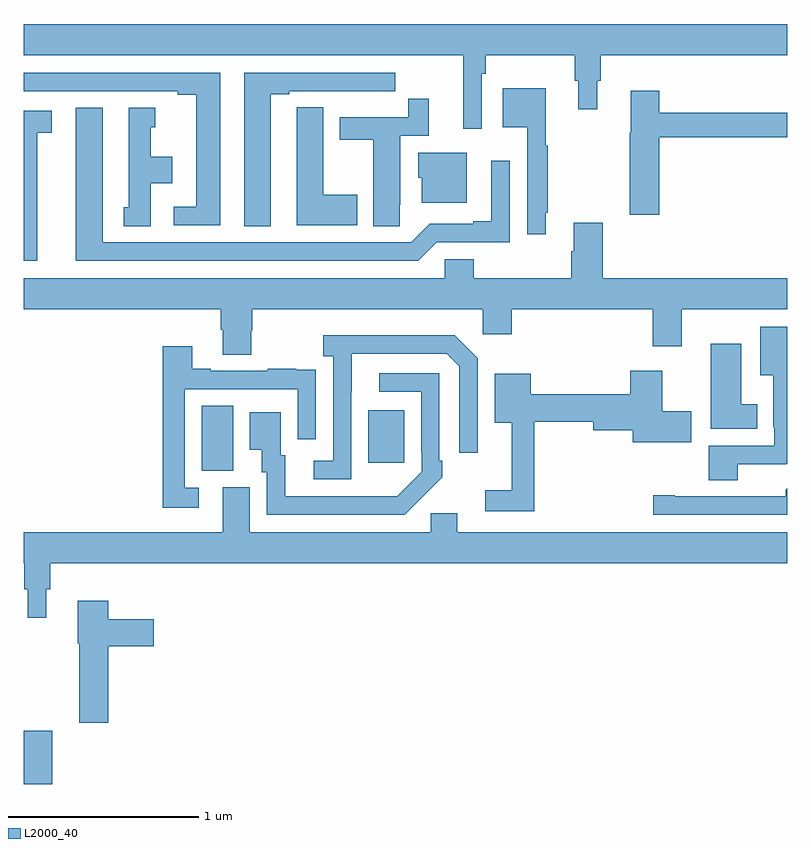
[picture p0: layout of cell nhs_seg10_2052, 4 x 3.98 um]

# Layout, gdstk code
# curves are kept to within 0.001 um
import gdstk
lib = gdstk.Library(unit=1e-6, precision=1e-09)
def R(c, l, rs):  # rectangles x0, y0, x1, y1
    for r in rs: c.add(gdstk.rectangle(r[:2], r[2:], *l))
def P(c, l, *ps):  # polygons
    for p in ps: c.add(gdstk.Polygon(p, *l))
L2000_40 = (2000, 40)

nhs_seg10_2052 = lib.new_cell('nhs_seg10_2052')
R(nhs_seg10_2052, L2000_40, [(219,1292.5,219.149,1292.779), (219.932,1294.141,220.096,1294.484), (220.805,1294.185,220.993,1294.459)])
P(nhs_seg10_2052, L2000_40, [(221.4,1296.224),(221.42,1296.224),(221.42,1296.32),(221.887,1296.32),(221.887,1296.186),(221.906,1296.186),(221.906,1296.036),(222.004,1296.036),(222.004,1296.186),(222.023,1296.186),(222.023,1296.32),(223,1296.32),(223,1296.484),(219,1296.484),(219,1296.32),(221.303,1296.32),(221.303,1295.934),(221.4,1295.934)],
  [(220.294,1296.117),(220.39,1296.117),(220.39,1296.132),(220.666,1296.132),(220.666,1296.131),(220.832,1296.131),(220.832,1296.132),(220.945,1296.132),(220.945,1296.228),(220.154,1296.228),(220.154,1295.425),(220.294,1295.425)],
  [(220.03,1296.228),(219,1296.228),(219,1296.132),(219.806,1296.132),(219.806,1296.112),(219.902,1296.112),(219.902,1295.526),(219.786,1295.526),(219.786,1295.43),(220.03,1295.43)],
  [(221.734,1295.494),(221.746,1295.494),(221.746,1295.846),(221.734,1295.846),(221.734,1296.148),(221.51,1296.148),(221.51,1295.942),(221.637,1295.942),(221.637,1295.382),(221.734,1295.382)],
  [(222.329,1295.89),(223,1295.89),(223,1296.019),(222.329,1296.019),(222.329,1296.133),(222.182,1296.133),(222.182,1295.913),(222.175,1295.913),(222.175,1295.484),(222.329,1295.484)],
  [(220.971,1295.536),(220.972,1295.536),(220.972,1295.898),(221.123,1295.898),(221.123,1296.091),(221.014,1296.091),(221.014,1295.994),(220.655,1295.994),(220.655,1295.878),(220.832,1295.878),(220.832,1295.425),(220.971,1295.425)],
  [(220.747,1295.589),(220.57,1295.589),(220.57,1296.047),(220.431,1296.047),(220.431,1295.939),(220.43,1295.939),(220.43,1295.429),(220.747,1295.429)],
  [(219.664,1295.648),(219.778,1295.648),(219.778,1295.788),(219.664,1295.788),(219.664,1295.943),(219.688,1295.943),(219.688,1296.046),(219.548,1296.046),(219.548,1295.523),(219.524,1295.523),(219.524,1295.425),(219.664,1295.425)],
  [(221.163,1295.34),(221.547,1295.34),(221.547,1295.767),(221.45,1295.767),(221.45,1295.449),(221.354,1295.449),(221.354,1295.436),(221.127,1295.436),(221.031,1295.34),(219.412,1295.34),(219.412,1296.046),(219.272,1296.046),(219.272,1295.244),(221.067,1295.244)],
  [(219.07,1295.914),(219.145,1295.914),(219.145,1296.03),(219,1296.03),(219,1295.244),(219.07,1295.244)],
  [(221.32,1295.809),(221.066,1295.809),(221.066,1295.679),(221.084,1295.679),(221.084,1295.546),(221.32,1295.546)],
  [(220.191,1294.875),(220.196,1294.875),(220.196,1294.988),(221.406,1294.988),(221.406,1294.857),(221.558,1294.857),(221.558,1294.988),(222.296,1294.988),(222.296,1294.794),(222.448,1294.794),(222.448,1294.988),(223,1294.988),(223,1295.152),(222.035,1295.152),(222.035,1295.443),(221.882,1295.443),(221.882,1295.294),(221.87,1295.294),(221.87,1295.152),(221.357,1295.152),(221.357,1295.25),(221.205,1295.25),(221.205,1295.152),(219,1295.152),(219,1294.988),(220.031,1294.988),(220.031,1294.882),(220.043,1294.882),(220.043,1294.75),(220.191,1294.75)],
  [(222.742,1294.176),(222.996,1294.176),(223,1294.18),(223,1294.897),(222.86,1294.897),(222.86,1294.643),(222.929,1294.643),(222.929,1294.369),(222.933,1294.369),(222.933,1294.272),(222.59,1294.272),(222.59,1294.093),(222.742,1294.093)],
  [(220.716,1294.555),(220.717,1294.755),(221.217,1294.755),(221.283,1294.689),(221.283,1294.236),(221.379,1294.236),(221.379,1294.731),(221.258,1294.852),(220.569,1294.852),(220.569,1294.742),(220.62,1294.742),(220.62,1294.194),(220.518,1294.194),(220.518,1294.098),(220.716,1294.098)],
  [(222.844,1294.492),(222.76,1294.492),(222.76,1294.807),(222.599,1294.807),(222.599,1294.361),(222.844,1294.361)],
  [(219.916,1294.053),(219.843,1294.053),(219.843,1294.569),(220.434,1294.569),(220.434,1294.308),(220.53,1294.308),(220.53,1294.562),(220.529,1294.562),(220.529,1294.671),(220.427,1294.671),(220.427,1294.678),(220.279,1294.678),(220.279,1294.665),(219.979,1294.665),(219.979,1294.678),(219.883,1294.678),(219.883,1294.795),(219.727,1294.795),(219.727,1293.948),(219.916,1293.948)],
  [(221.675,1294.4),(221.984,1294.4),(221.984,1294.355),(222.191,1294.355),(222.191,1294.292),(222.499,1294.292),(222.499,1294.455),(222.346,1294.455),(222.346,1294.666),(222.179,1294.666),(222.179,1294.542),(221.656,1294.542),(221.656,1294.651),(221.468,1294.651),(221.468,1294.394),(221.558,1294.394),(221.558,1294.039),(221.418,1294.039),(221.418,1293.93),(221.675,1293.93)],
  [(221.087,1294.003),(221.088,1294.002),(221.193,1294.107),(221.193,1294.195),(221.178,1294.195),(221.178,1294.653),(220.863,1294.653),(220.863,1294.557),(221.082,1294.557),(221.082,1294.237),(221.085,1294.237),(221.085,1294.137),(220.957,1294.009),(220.369,1294.008),(220.369,1294.224),(220.345,1294.224),(220.345,1294.45),(220.184,1294.45),(220.184,1294.253),(220.247,1294.253),(220.247,1294.134),(220.272,1294.134),(220.272,1293.912),(220.996,1293.912)],
  [(219.118,1293.522),(219.137,1293.522),(219.137,1293.656),(223,1293.656),(223,1293.82),(221.272,1293.82),(221.272,1293.918),(221.133,1293.918),(221.133,1293.82),(220.183,1293.82),(220.183,1294.056),(220.043,1294.056),(220.043,1293.82),(219,1293.82),(219,1293.656),(219.001,1293.656),(219.001,1293.522),(219.02,1293.522),(219.02,1293.372),(219.118,1293.372)],
  [(223,1294.05),(222.992,1294.042),(222.992,1294.008),(222.412,1294.008),(222.412,1294.013),(222.3,1294.013),(222.3,1293.912),(223,1293.912)],
  [(219.443,1293.221),(219.679,1293.221),(219.679,1293.363),(219.443,1293.363),(219.443,1293.46),(219.283,1293.46),(219.283,1293.237),(219.289,1293.237),(219.289,1292.82),(219.443,1292.82)])

lib.write_gds('nhs_seg10_2052.gds')
